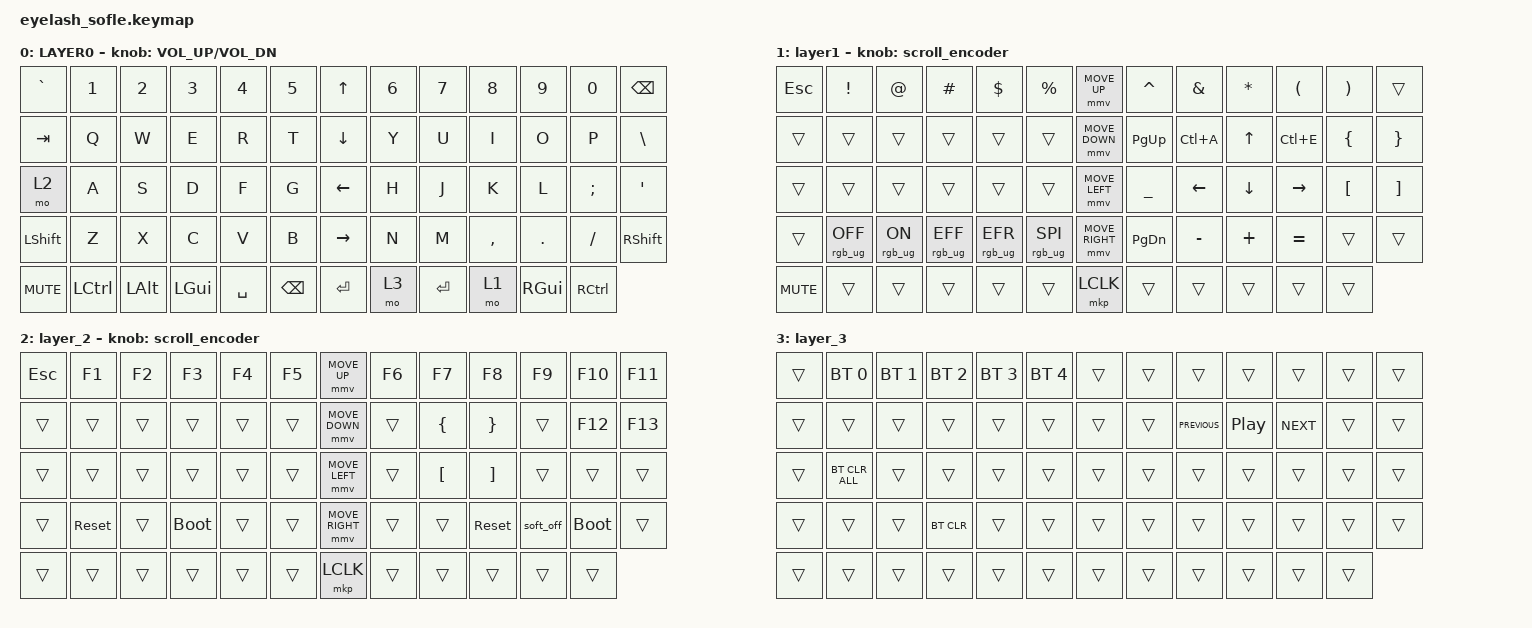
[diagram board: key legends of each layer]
#define ZMK_POINTING_DEFAULT_MOVE_VAL 1200  // 600
#define ZMK_POINTING_DEFAULT_SCRL_VAL 25   // 10

#include <input/processors.dtsi>
#include <zephyr/dt-bindings/input/input-event-codes.h>
#include <behaviors.dtsi>
#include <dt-bindings/zmk/bt.h>
#include <dt-bindings/zmk/keys.h>
#include <dt-bindings/zmk/pointing.h>
#include <dt-bindings/zmk/rgb.h>

&mmv_input_listener { input-processors = <&zip_xy_scaler 2 1>; };

&msc_input_listener { input-processors = <&zip_scroll_scaler 2 1>; };

&msc {
    acceleration-exponent = <1>;      // 0
    time-to-max-speed-ms = <100>;       // 300
    delay-ms = <0>;                   // 0
};

&mmv {
    time-to-max-speed-ms = <500>;
    acceleration-exponent = <1>;
    trigger-period-ms = <16>;
};

/ {
    scroll_encoder: scroll_encoder {
        compatible = "zmk,behavior-sensor-rotate";
        #sensor-binding-cells = <0>;
        bindings = <&msc SCRL_DOWN>, <&msc SCRL_UP>;

        tap-ms = <100>;
    };

    behaviors {
    };

    keymap {
        compatible = "zmk,keymap";

        layer0 {
            bindings = <
&kp GRAVE   &kp N1     &kp N2        &kp N3        &kp N4     &kp N5           &kp UP_ARROW     &kp N6  &kp N7     &kp N8     &kp N9         &kp N0     &kp BACKSPACE
&kp TAB     &kp Q      &kp W         &kp E         &kp R      &kp T            &kp DOWN_ARROW   &kp Y   &kp U      &kp I      &kp O          &kp P      &kp BSLH
&mo 2       &kp A      &kp S         &kp D         &kp F      &kp G            &kp LEFT_ARROW   &kp H   &kp J      &kp K      &kp L          &kp SEMI   &kp APOS
&kp LSHFT   &kp Z      &kp X         &kp C         &kp V      &kp B            &kp RIGHT_ARROW  &kp N   &kp M      &kp COMMA  &kp DOT        &kp FSLH   &kp RIGHT_SHIFT
&kp C_MUTE  &kp LCTRL  &kp LEFT_ALT  &kp LEFT_GUI  &kp SPACE  &kp BACKSPACE    &kp ENTER        &mo 3   &kp ENTER  &mo 1      &kp RIGHT_GUI  &kp RCTRL
            >;

            sensor-bindings = <&inc_dec_kp C_VOLUME_UP C_VOL_DN>;
            display-name = "LAYER0";
        };

        layer_1 {
            bindings = <
&kp ESCAPE  &kp EXCLAMATION  &kp AT_SIGN     &kp POUND        &kp DOLLAR       &kp PERCENT        &mmv MOVE_UP     &kp CARET       &kp AMPERSAND  &kp ASTRK  &kp LEFT_PARENTHESIS  &kp RIGHT_PARENTHESIS  &trans
&trans      &trans           &trans          &trans           &trans           &trans             &mmv MOVE_DOWN   &kp PG_UP       &kp LC(A)      &kp UP     &kp LC(E)             &kp LEFT_BRACE         &kp RIGHT_BRACE
&trans      &trans           &trans          &trans           &trans           &trans             &mmv MOVE_LEFT   &kp UNDERSCORE  &kp LEFT       &kp DOWN   &kp RIGHT             &kp LEFT_BRACKET       &kp RIGHT_BRACKET
&trans      &rgb_ug RGB_OFF  &rgb_ug RGB_ON  &rgb_ug RGB_EFF  &rgb_ug RGB_EFR  &rgb_ug RGB_SPI    &mmv MOVE_RIGHT  &kp PAGE_DOWN   &kp MINUS      &kp PLUS   &kp EQUAL             &trans                 &trans
&kp C_MUTE  &trans           &trans          &trans           &trans           &trans             &mkp LCLK        &trans          &trans         &trans     &trans                &trans
            >;

            display-name = "layer1";
            sensor-bindings = <&scroll_encoder>;
        };

        layer_2 {
            bindings = <
&kp ESCAPE  &kp F1      &kp F2  &kp F3       &kp F4  &kp F5    &mmv MOVE_UP     &kp F6  &kp F7            &kp F8             &kp F9     &kp F10      &kp F11
&trans      &trans      &trans  &trans       &trans  &trans    &mmv MOVE_DOWN   &trans  &kp LEFT_BRACE    &kp RIGHT_BRACE    &trans     &kp F12      &kp F13
&trans      &trans      &trans  &trans       &trans  &trans    &mmv MOVE_LEFT   &trans  &kp LEFT_BRACKET  &kp RIGHT_BRACKET  &trans     &trans       &trans
&trans      &sys_reset  &trans  &bootloader  &trans  &trans    &mmv MOVE_RIGHT  &trans  &trans            &sys_reset         &soft_off  &bootloader  &trans
&trans      &trans      &trans  &trans       &trans  &trans    &mkp LCLK        &trans  &trans            &trans             &trans     &trans
            >;

            sensor-bindings = <&scroll_encoder>;
        };

        layer_3 {
            bindings = <
&trans  &bt BT_SEL 0    &bt BT_SEL 1  &bt BT_SEL 2  &bt BT_SEL 3  &bt BT_SEL 4    &trans  &trans  &trans          &trans            &trans      &trans  &trans
&trans  &trans          &trans        &trans        &trans        &trans          &trans  &trans  &kp C_PREVIOUS  &kp C_PLAY_PAUSE  &kp C_NEXT  &trans  &trans
&trans  &bt BT_CLR_ALL  &trans        &trans        &trans        &trans          &trans  &trans  &trans          &trans            &trans      &trans  &trans
&trans  &trans          &trans        &bt BT_CLR    &trans        &trans          &trans  &trans  &trans          &trans            &trans      &trans  &trans
&trans  &trans          &trans        &trans        &trans        &trans          &trans  &trans  &trans          &trans            &trans      &trans
            >;
        };
    };
};
